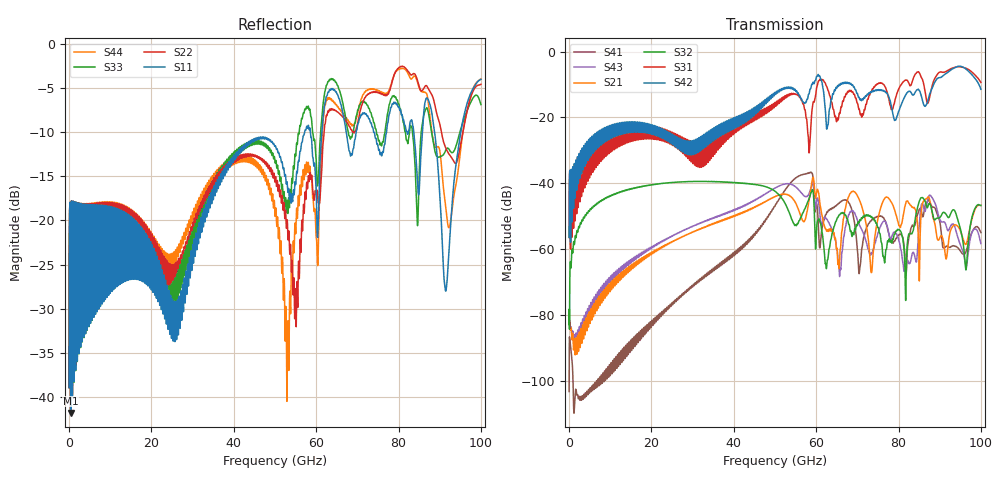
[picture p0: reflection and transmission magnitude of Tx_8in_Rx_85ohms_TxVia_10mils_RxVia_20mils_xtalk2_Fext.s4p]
! Info: Touchstone file created by Circ.  Input file=Tx_8in_Rx_85ohms_TxVia_10mils_RxVia_20mils.circ
# Hz S RI R 50
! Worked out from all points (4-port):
!   10000 points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, 10 MHz to 100 GHz, reference 50 ohm
!   strongest paths, dB at 10 MHz, 25.01 GHz, 50.01 GHz, 75.01 GHz, 100 GHz:
!     S42: -56.4, -25.2, -12.4, -11.8, -11.5
!     S31: -56.5, -24.6, -15.5, -9.8, -9.4
!     S32: -82.9, -39.8, -42.4, -53.4, -46.8
!     S21: -80.6, -57.8, -44.1, -50.6, -46.7
!     S43: -80.6, -56.0, -41.5, -55.1, -58.3
!     S41: -103.3, -76.4, -46.9, -50.1, -55.0
!   lowest |S11| = -41.8 dB at 390 MHz (marker M1), VSWR 1.02, Z = 49.3 + j0.462 ohm
!   |S11| at or under -10 dB: start of sweep to 57.18 GHz; 73.96 GHz to 77.09 GHz (3.133 GHz wide, 4.15 % of centre); 88.75 GHz to 95.11 GHz (6.36 GHz wide, 6.92 % of centre)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
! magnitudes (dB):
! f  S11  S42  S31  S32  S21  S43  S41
! 10 MHz  -39.0  -56.4  -56.5  -82.9  -80.6  -80.6  -103.3
! 390 MHz  -41.8  -46.8  -46.9  -64.7  -84.5  -84.3  -89.7
! 12.77 GHz  -26.4  -22.9  -24.2  -42.4  -68.2  -66.2  -94.4
! 58.32 GHz  -9.7  -12.7  -30.6  -44.5  -44.8  -43.0  -36.7
! 70.51 GHz  -8.4  -14.2  -17.7  -51.4  -45.1  -52.7  -66.8
! 91.46 GHz  -28.0  -6.8  -6.1  -49.3  -62.7  -52.5  -59.3
! 100 GHz  -4.0  -11.5  -9.4  -46.8  -46.7  -58.3  -55.0
